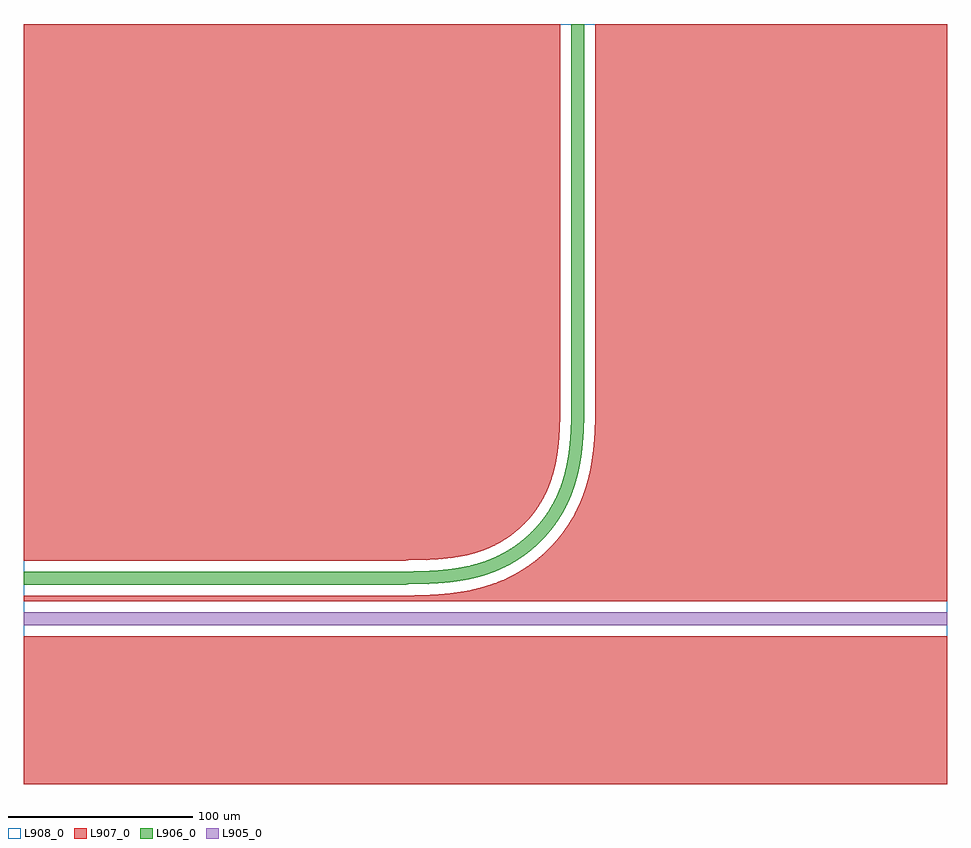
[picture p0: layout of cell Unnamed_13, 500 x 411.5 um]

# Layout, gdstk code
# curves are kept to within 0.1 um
import gdstk
lib = gdstk.Library(unit=1e-6, precision=1e-09)
def R(c, l, rs):  # rectangles x0, y0, x1, y1
    for r in rs: c.add(gdstk.rectangle(r[:2], r[2:], *l))
def P(c, l, *ps):  # polygons
    for p in ps: c.add(gdstk.Polygon(p, *l))
L905_0 = (905, 0)
L906_0 = (906, 0)
L907_0 = (907, 0)
L908_0 = (908, 0)

unnamed_13 = lib.new_cell('Unnamed_13')
R(unnamed_13, L905_0, [(-200,-14.5,300,-7.5)])
P(unnamed_13, L906_0, [(-200,7.5),(-200,14.5),(5.585,14.507),(18.373,14.767),(28.005,15.455),(35.446,16.454),(42.246,17.847),(48.628,19.682),(54.206,21.81),(59.921,24.608),(65.029,27.721),(70.037,31.437),(74.769,35.691),(78.995,40.277),(82.777,45.235),(86.145,50.634),(88.935,56.211),(91.196,62.011),(93.092,68.505),(94.546,75.554),(95.545,82.995),(96.233,92.627),(96.493,105.415),(96.5,311),(103.5,311),(103.494,105.655),(103.306,94.35),(102.786,85.266),(101.793,76.566),(100.333,68.709),(98.387,61.478),(95.946,54.794),(92.795,48.2),(89.245,42.3),(84.985,36.536),(80.188,31.21),(74.899,26.373),(69.051,21.99),(63.047,18.339),(56.595,15.218),(49.655,12.655),(42.291,10.667),(34.434,9.207),(26.006,8.237),(16.65,7.694),(5.345,7.506)])
R(unnamed_13, L907_0, [(-200,-100.5,300,-20.5)])
P(unnamed_13, L907_0, [(-200,20.5),(-200,311),(90.5,311),(90.495,105.965),(90.359,96.213),(89.929,87.59),(89.124,79.812),(87.959,72.983),(86.368,66.628),(84.219,60.456),(81.575,54.786),(78.493,49.608),(74.916,44.759),(70.879,40.285),(66.241,36.084),(61.392,32.507),(56.214,29.425),(50.544,26.781),(44.372,24.632),(38.017,23.041),(31.188,21.876),(23.41,21.071),(14.787,20.641),(5.035,20.505)],
  [(-200,-1.5),(-200,1.5),(3.884,1.502),(14.648,1.63),(22.995,1.997),(30.192,2.614),(36.745,3.493),(43.042,4.687),(48.906,6.164),(54.447,7.94),(60.058,10.181),(65.249,12.71),(69.986,15.445),(73.908,18.055),(77.788,20.986),(81.483,24.146),(84.767,27.308),(87.665,30.423),(90.582,33.926),(93.468,37.839),(95.954,41.661),(98.29,45.751),(100.19,49.558),(101.996,53.737),(103.6,58.11),(104.997,62.665),(106.153,67.243),(107.142,72.11),(107.97,77.395),(108.629,83.216),(109.103,89.686),(109.486,104.01),(109.5,311),(300,311),(300,-1.5)])
R(unnamed_13, L908_0, [(-200,-100.5,300,311)])

lib.write_gds('Unnamed_13.gds')
